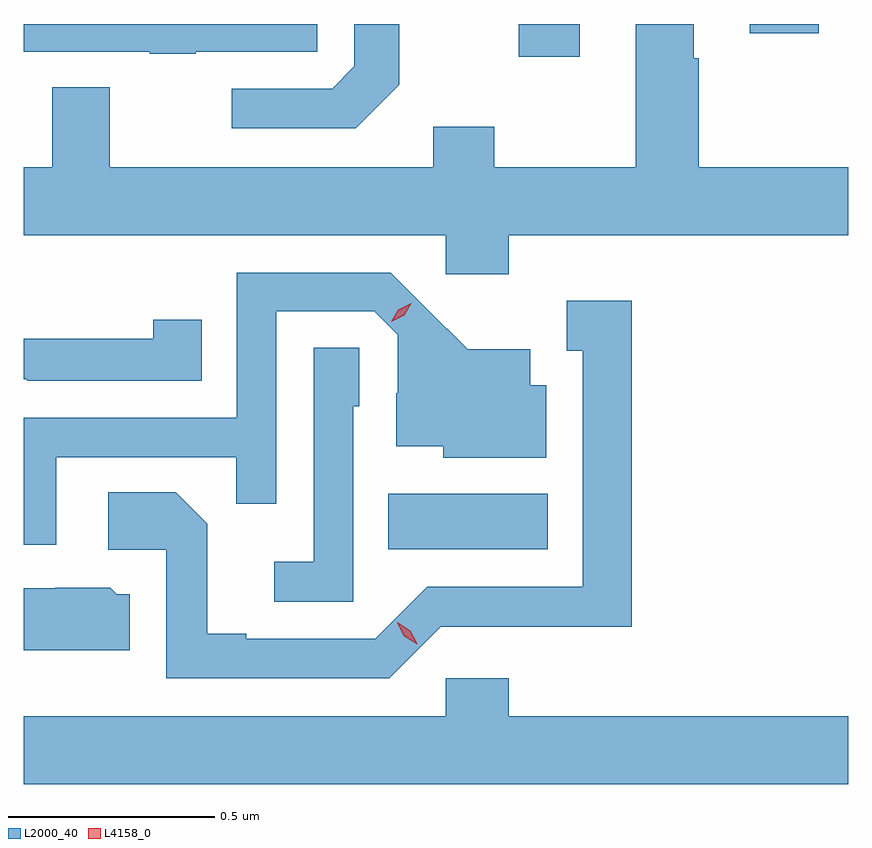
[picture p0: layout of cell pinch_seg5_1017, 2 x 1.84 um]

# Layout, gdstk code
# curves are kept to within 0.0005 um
import gdstk
lib = gdstk.Library(unit=1e-6, precision=1e-09)
def R(c, l, rs):  # rectangles x0, y0, x1, y1
    for r in rs: c.add(gdstk.rectangle(r[:2], r[2:], *l))
def P(c, l, *ps):  # polygons
    for p in ps: c.add(gdstk.Polygon(p, *l))
L2000_40 = (2000, 40)
L4158_0 = (4158, 0)

pinch_seg5_1017 = lib.new_cell('pinch_seg5_1017')
R(pinch_seg5_1017, L2000_40, [(734.548,897.29,734.935,897.424), (734.865,898.485,735.013,898.564), (735.425,898.542,735.593,898.564)])
P(pinch_seg5_1017, L2000_40, [(734.575,898.417),(734.575,898.564),(734.466,898.564),(734.466,898.461),(734.412,898.407),(734.169,898.407),(734.169,898.311),(734.469,898.311)],
  [(734.081,898.497),(734.376,898.497),(734.376,898.564),(733.664,898.564),(733.664,898.497),(733.969,898.497),(733.969,898.492),(734.081,898.492)],
  [(735.149,898.564),(735.149,898.216),(734.805,898.216),(734.805,898.315),(734.657,898.315),(734.657,898.216),(733.873,898.216),(733.873,898.411),(733.733,898.411),(733.733,898.216),(733.664,898.216),(733.664,898.052),(734.688,898.052),(734.688,897.957),(734.84,897.957),(734.84,898.052),(735.664,898.052),(735.664,898.216),(735.302,898.216),(735.302,898.481),(735.289,898.481),(735.289,898.564)],
  [(733.743,897.513),(734.179,897.513),(734.179,897.4),(734.277,897.4),(734.277,897.867),(734.514,897.867),(734.571,897.81),(734.571,897.668),(734.567,897.668),(734.567,897.539),(734.682,897.539),(734.682,897.512),(734.932,897.512),(734.932,897.688),(734.893,897.688),(734.893,897.775),(734.741,897.775),(734.554,897.96),(734.181,897.96),(734.181,897.609),(733.664,897.609),(733.664,897.3),(733.743,897.3)],
  [(734.676,897.102),(734.898,897.102),(734.898,897.101),(735.139,897.101),(735.139,897.892),(734.981,897.892),(734.981,897.771),(735.02,897.771),(735.02,897.198),(734.643,897.198),(734.517,897.072),(734.203,897.072),(734.203,897.085),(734.109,897.085),(734.109,897.352),(734.033,897.428),(733.869,897.428),(733.869,897.288),(734.01,897.288),(734.01,896.976),(734.55,896.976)],
  [(734.096,897.847),(733.978,897.847),(733.978,897.8),(733.664,897.8),(733.664,897.702),(733.672,897.702),(733.672,897.699),(734.096,897.699)],
  [(734.463,897.636),(734.478,897.636),(734.478,897.779),(734.367,897.779),(734.367,897.259),(734.271,897.259),(734.271,897.162),(734.463,897.162)],
  [(733.921,897.18),(733.89,897.18),(733.874,897.196),(733.74,897.196),(733.74,897.195),(733.664,897.195),(733.664,897.044),(733.921,897.044)],
  [(735.664,896.884),(734.84,896.884),(734.84,896.977),(734.688,896.977),(734.688,896.884),(733.664,896.884),(733.664,896.72),(735.664,896.72)])
P(pinch_seg5_1017, L4158_0, [(734.618,897.059),(734.587,897.079),(734.57,897.111),(734.57,897.112),(734.57,897.112),(734.602,897.092),(734.619,897.06),(734.619,897.059)],
  [(734.556,897.841),(734.556,897.842),(734.573,897.871),(734.604,897.886),(734.604,897.886),(734.604,897.886),(734.587,897.857),(734.556,897.841)])

lib.write_gds('pinch_seg5_1017.gds')
